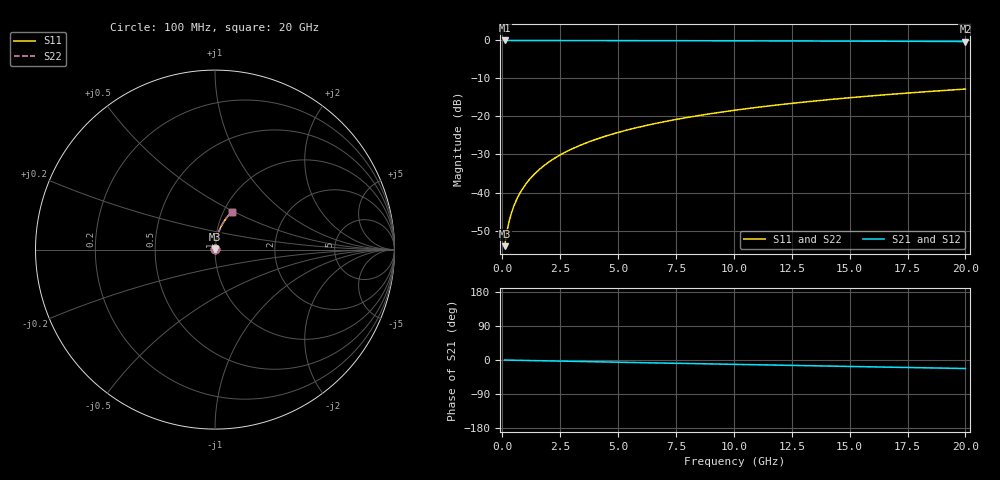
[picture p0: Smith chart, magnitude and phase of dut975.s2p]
! Touchstone file exported from HFSS 2026.1.0
!  File:  C:/ffzhzh/LocalFiles/Ansys_Project_Files/temp_train_BSMRDL_975_1783172672_43440.aedt
!  Generated:  09:45:43 PM Jul  4, 2026
!  Design:  BSMRDL
!  Project:  temp_train_BSMRDL_975_1783172672_43440
! Variables:
!  h_bsmrdl = 3.9um
!  h_ox = 20um
!  h_rdl = 5um
!  h_sub = 80um
!  h_tmrdl = 5um
!  h_tsv = 80um
!  h_via = 3um
!  l_bsmrdl = 289.08um
!  l_sub = 689.08um
!  l_tmrdl = 200um
!  m_sub = 200um
!  pitch = 48.72um
!  r_tsv = 6um
!  s_tmrdl = 10um
!  w_bsmrdl = 21.03um
!  w_sub = 500um
!  w_tmrdl = 12um
!  x_tsv_center1 = 206um
!  x_tsv_center2 = 516.11um
!  x_tsv_center3 = 728.11um
!  x_tsv_center4 = 1038.22um
!  x_tsv_center5 = 1250.22um
!  x_tsv_center6 = 1560.33um
# GHz S MA R 50.000000
! Terminal data exported
! Port[1] = BSM_RDL1_1_T1
! Port[2] = BSM_RDL1_1_T2
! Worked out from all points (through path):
!   200 points, 100 MHz to 20 GHz, reference 50 ohm
!   highest |S21| = -0.01 dB at 100 MHz (marker M1); lowest = -0.3 dB at 20 GHz (marker M2)
!   group delay of S21, straight-line fit = 3.12 ps
!   lowest |S11| = -54.1 dB at 100 MHz (marker M3), VSWR 1.00, Z = 50.1 + j0.135 ohm
!   |S11| at or under -10 dB: start of sweep to end of sweep
!   |S22| runs from -54.1 to -12.8 dB; largest |S21 - S12| = 3.4e-15
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0.1  0.001971 43.0  0.9986 -0.1  0.9986 -0.1  0.001971 43.0
! Gamma 0 0 0 0
! Port Impedance 50 0 50 0
0.2  0.003056 60.3  0.9985 -0.2  0.9985 -0.2  0.003056 60.3
0.3  0.004239 67.9  0.9984 -0.4  0.9984 -0.4  0.004239 67.9
0.4  0.005438 72.1  0.9984 -0.5  0.9984 -0.5  0.005438 72.1
0.5  0.006642 74.8  0.9983 -0.6  0.9983 -0.6  0.006641 74.8
0.6  0.00785 76.7  0.9983 -0.7  0.9983 -0.7  0.00785 76.7
0.8  0.01028 79.1  0.9982 -0.9  0.9982 -0.9  0.01028 79.1
1.1  0.01395 81.2  0.9981 -1.3  0.9981 -1.3  0.01395 81.2
1.5  0.01888 82.4  0.9979 -1.8  0.9979 -1.8  0.01888 82.4
1.8  0.02257 82.9  0.9978 -2.1  0.9978 -2.1  0.02257 82.9
2.1  0.02627 83.1  0.9976 -2.5  0.9976 -2.5  0.02627 83.1
2.7  0.03366 83.1  0.9973 -3.2  0.9973 -3.2  0.03366 83.1
3.5  0.04345 82.7  0.9967 -4.1  0.9967 -4.1  0.04345 82.7
4.2  0.05197 82.2  0.996 -4.9  0.996 -4.9  0.05197 82.2
5  0.06163 81.5  0.9952 -5.8  0.9952 -5.8  0.06163 81.5
5.9  0.0724 80.6  0.9942 -6.9  0.9942 -6.9  0.0724 80.6
6.8  0.08308 79.7  0.9931 -7.9  0.9931 -7.9  0.08308 79.7
8.3  0.1007 78.2  0.991 -9.6  0.991 -9.6  0.1007 78.2
10.1  0.1215 76.3  0.9882 -11.6  0.9882 -11.6  0.1215 76.3
13.4  0.1587 72.8  0.9822 -15.3  0.9822 -15.3  0.1587 72.9
16.7  0.1947 69.4  0.9751 -18.9  0.9751 -18.9  0.1947 69.4
20  0.2293 66.0  0.9672 -22.5  0.9672 -22.5  0.2293 66.0
